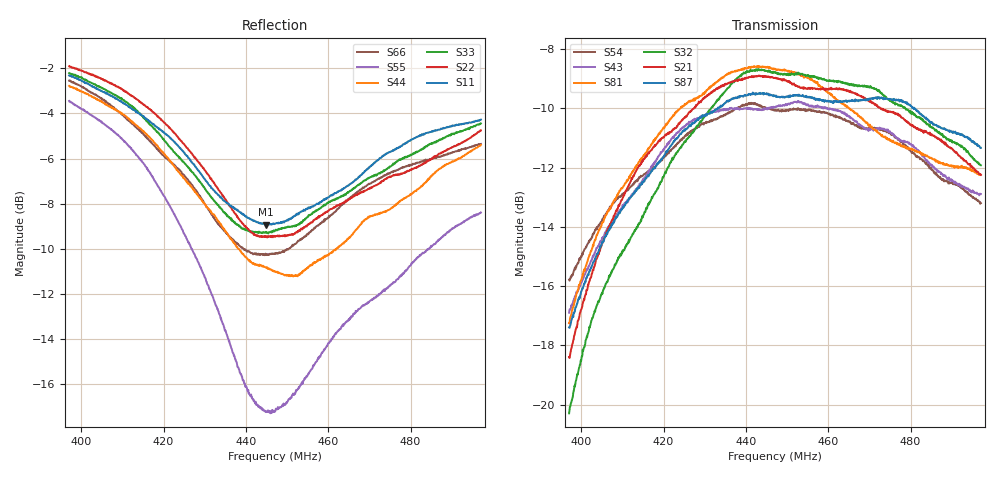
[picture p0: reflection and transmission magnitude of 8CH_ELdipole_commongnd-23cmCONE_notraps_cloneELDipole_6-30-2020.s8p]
#  HZ  S  RI  R  50.00
! Rohde & Schwarz Vector Network Analyzer
! Rohde-Schwarz,ZNBT8-16Port,1318700624102139,2.92
! Created: UTC 6/30/2020, 11:52:52 PM
! freq[Hz]  re:S11  im:S11  re:S12  im:S12  re:S13  im:S13  re:S14  im:S14
!  re:S15  im:S15  re:S16  im:S16  re:S17  im:S17  re:S18  im:S18
!  re:S21  im:S21  re:S22  im:S22  re:S23  im:S23  re:S24  im:S24
!  re:S25  im:S25  re:S26  im:S26  re:S27  im:S27  re:S28  im:S28
!  re:S31  im:S31  re:S32  im:S32  re:S33  im:S33  re:S34  im:S34
!  re:S35  im:S35  re:S36  im:S36  re:S37  im:S37  re:S38  im:S38
!  re:S41  im:S41  re:S42  im:S42  re:S43  im:S43  re:S44  im:S44
!  re:S45  im:S45  re:S46  im:S46  re:S47  im:S47  re:S48  im:S48
!  re:S51  im:S51  re:S52  im:S52  re:S53  im:S53  re:S54  im:S54
!  re:S55  im:S55  re:S56  im:S56  re:S57  im:S57  re:S58  im:S58
!  re:S61  im:S61  re:S62  im:S62  re:S63  im:S63  re:S64  im:S64
!  re:S65  im:S65  re:S66  im:S66  re:S67  im:S67  re:S68  im:S68
!  re:S71  im:S71  re:S72  im:S72  re:S73  im:S73  re:S74  im:S74
!  re:S75  im:S75  re:S76  im:S76  re:S77  im:S77  re:S78  im:S78
!  re:S81  im:S81  re:S82  im:S82  re:S83  im:S83  re:S84  im:S84
!  re:S85  im:S85  re:S86  im:S86  re:S87  im:S87  re:S88  im:S88
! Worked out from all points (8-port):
!   1001 points, 397.1 MHz to 497.1 MHz, reference 50 ohm
!   strongest paths, dB at 397.1 MHz, 422.1 MHz, 447.1 MHz, 472.1 MHz, 497.1 MHz:
!     S87: -17.4, -11.2, -9.6, -9.7, -11.3
!     S21: -18.4, -10.7, -9.0, -9.9, -12.2
!     S32: -20.3, -11.7, -8.8, -9.4, -11.9
!     S81: -17.3, -10.3, -8.7, -10.8, -12.2
!     S43: -16.9, -11.0, -10.0, -10.7, -12.9
!     S54: -15.8, -11.4, -10.1, -10.7, -13.2
!   lowest |S11| = -8.9 dB at 444.8 MHz (marker M1), VSWR 2.12, Z = 23.8 + j4.03 ohm
!   |S11| at or under -10 dB: nowhere
